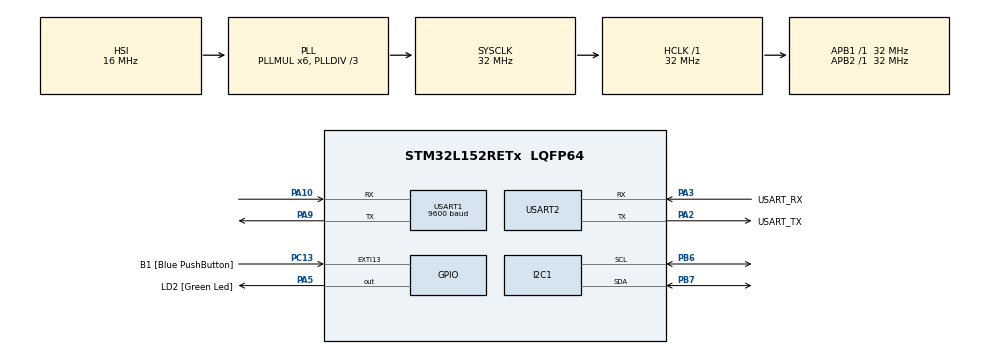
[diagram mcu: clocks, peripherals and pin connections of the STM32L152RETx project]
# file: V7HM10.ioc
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Dma.Request0=USART1_RX
Dma.Request1=USART1_TX
Dma.USART1_RX.0.Direction=DMA_PERIPH_TO_MEMORY
Dma.USART1_RX.0.Instance=DMA1_Channel5
Dma.USART1_RX.0.MemDataAlignment=DMA_MDATAALIGN_BYTE
Dma.USART1_RX.0.MemInc=DMA_MINC_ENABLE
Dma.USART1_RX.0.Mode=DMA_NORMAL
Dma.USART1_RX.0.PeriphDataAlignment=DMA_PDATAALIGN_BYTE
Dma.USART1_RX.0.PeriphInc=DMA_PINC_DISABLE
Dma.USART1_RX.0.Priority=DMA_PRIORITY_LOW
Dma.USART1_TX.1.Direction=DMA_MEMORY_TO_PERIPH
Dma.USART1_TX.1.Instance=DMA1_Channel4
Dma.USART1_TX.1.MemDataAlignment=DMA_MDATAALIGN_BYTE
Dma.USART1_TX.1.MemInc=DMA_MINC_ENABLE
Dma.USART1_TX.1.Mode=DMA_NORMAL
Dma.USART1_TX.1.PeriphDataAlignment=DMA_PDATAALIGN_BYTE
Dma.USART1_TX.1.PeriphInc=DMA_PINC_DISABLE
Dma.USART1_TX.1.Priority=DMA_PRIORITY_LOW
Mcu.Family=STM32L1
Mcu.Name=STM32L152RETx
Mcu.Package=LQFP64
NVIC.DMA1_Channel4_IRQn=true\:0\:0\:false\:false\:true\:false\:true\:true
NVIC.DMA1_Channel5_IRQn=true\:0\:0\:false\:false\:true\:false\:true\:true
NVIC.PriorityGroup=NVIC_PRIORITYGROUP_0
NVIC.USART1_IRQn=true\:0\:0\:false\:false\:true\:true\:true\:true
PA10.Mode=Asynchronous
PA10.Signal=USART1_RX
PA13.GPIO_Label=TMS
PA13.Mode=Serial_Wire
PA13.Signal=SYS_JTMS-SWDIO
PA14.GPIO_Label=TCK
PA14.Mode=Serial_Wire
PA14.Signal=SYS_JTCK-SWCLK
PA2.GPIO_Label=USART_TX
PA2.Mode=Asynchronous
PA2.Signal=USART2_TX
PA3.GPIO_Label=USART_RX
PA3.Mode=Asynchronous
PA3.Signal=USART2_RX
PA5.GPIO_Label=LD2 [Green Led]
PA5.Signal=GPIO_Output
PA9.Mode=Asynchronous
PA9.Signal=USART1_TX
PB3.GPIO_Label=SWO
PB3.Signal=SYS_JTDO-TRACESWO
PB6.Mode=I2C
PB6.Signal=I2C1_SCL
PB7.Mode=I2C
PB7.Signal=I2C1_SDA
PC13-WKUP2.GPIO_Label=B1 [Blue PushButton]
PC13-WKUP2.Signal=GPXTI13
PC14-OSC32_IN.Mode=LSE-External-Oscillator
PC14-OSC32_IN.Signal=RCC_OSC32_IN
PC15-OSC32_OUT.Mode=LSE-External-Oscillator
PC15-OSC32_OUT.Signal=RCC_OSC32_OUT
PH0-OSC_IN.Mode=HSE-External-Oscillator
PH0-OSC_IN.Signal=RCC_OSC_IN
PH1-OSC_OUT.Mode=HSE-External-Oscillator
PH1-OSC_OUT.Signal=RCC_OSC_OUT
ProjectManager.HeapSize=0x200
ProjectManager.StackSize=0x400
ProjectManager.TargetToolchain=STM32CubeIDE
RCC.48MHZClocksFreq_Value=48000000
RCC.AHBFreq_Value=32000000
RCC.APB1Freq_Value=32000000
RCC.APB1TimFreq_Value=32000000
RCC.APB2Freq_Value=32000000
RCC.APB2TimFreq_Value=32000000
RCC.HCLKFreq_Value=32000000
RCC.HSE_VALUE=8000000
RCC.HSI_VALUE=16000000
RCC.MSI_VALUE=2097000
RCC.PLLDIV=RCC_PLL_DIV3
RCC.PLLMUL=RCC_PLL_MUL6
RCC.RTCClockSelectionVirtual=RCC_RTCCLKSOURCE_LSE
RCC.SYSCLKFreq_VALUE=32000000
RCC.SYSCLKSource=RCC_SYSCLKSOURCE_PLLCLK
RCC.USBOutput=48000000
RCC.VCOOutputFreq_Value=96000000
USART1.BaudRate=9600
USART1.VirtualMode=VM_ASYNC
USART2.VirtualMode=VM_ASYNC
board=NUCLEO-L152RE

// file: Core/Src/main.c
/* USER CODE BEGIN Header */
/**
  ******************************************************************************
  * @file           : main.c
  * @brief          : Main program body
  ******************************************************************************
  * @attention
  *
  * Copyright (c) 2025 STMicroelectronics.
  * All rights reserved.
  *
  * This software is licensed under terms that can be found in the LICENSE file
  * in the root directory of this software component.
  * If no LICENSE file comes with this software, it is provided AS-IS.
  *
  ******************************************************************************
  */
/* USER CODE END Header */
#include "main.h"

#include "math.h"
#include "string.h"
#include "stdio.h"

/* USER CODE BEGIN PD */
#define AHT20_ADDRESS 0x38<<1
#define HI2C      hi2c1
/* USER CODE END PD */

I2C_HandleTypeDef hi2c1;

UART_HandleTypeDef huart1;
UART_HandleTypeDef huart2;
DMA_HandleTypeDef hdma_usart1_rx;
DMA_HandleTypeDef hdma_usart1_tx;

/* USER CODE BEGIN PV */
float Temperature, Humidity;
static uint8_t rx_buf[100];
static uint8_t tx_buf[100];
static char* msg1 = "AT";

/* USER CODE END PV */

void SystemClock_Config(void);
static void MX_GPIO_Init(void);
static void MX_DMA_Init(void);
static void MX_USART1_UART_Init(void);
static void MX_USART2_UART_Init(void);
static void MX_I2C1_Init(void);
/* USER CODE BEGIN PFP */
void AHT20_Init (void);
void AHT20_Measure ();
/* USER CODE END PFP */

/* USER CODE BEGIN 0 */
void AHT20_Init (void)
{
	HAL_Delay(40);
	uint8_t status;
	HAL_I2C_Mem_Read(&hi2c1, AHT20_ADDRESS, 0x71, 1, &status, 1, 1000);
	if ((status>>3 & 0x01) == 0)  // if CAL = 0
	{
		uint8_t init_commands[3] = {0xBE, 0x08, 0x00};
		HAL_I2C_Master_Transmit(&hi2c1, AHT20_ADDRESS, init_commands, 3, 1000);
		HAL_Delay (10);
	}
}

void AHT20_Measure (void)
{
	uint8_t measure_command[3] = {0xAC, 0x33, 0x00};
	HAL_I2C_Master_Transmit(&hi2c1, AHT20_ADDRESS, measure_command, 3, 1000);
	HAL_Delay(80);

	uint8_t status;
	do {
		HAL_I2C_Mem_Read(&hi2c1, AHT20_ADDRESS, 0x71, 1, &status, 1, 1000);
		HAL_Delay(100);
	}
	while ((status>>7 & 0x01) == 1);

	uint8_t RxData[7];
	HAL_I2C_Master_Receive(&hi2c1, AHT20_ADDRESS, RxData, 7, 1000);
	uint32_t HUM_DATA = (RxData[1]<<16)|(RxData[2]<<8)|RxData[3];  // accumulated 24bit data
	HUM_DATA = HUM_DATA>>4;  // 20bit data
	Humidity = (float) ((HUM_DATA/pow(2,20)) * 100);
	uint32_t TEMP_DATA = (RxData[3]<<16)|(RxData[4]<<8)|RxData[5];  // accumulated 24bit data
	TEMP_DATA = TEMP_DATA&0xFFFFF;  // first 20bit data
	Temperature = (float) (((TEMP_DATA/pow(2,20)) * 200) - 50);
}

/* USER CODE END 0 */

int main(void)
{

  /* MCU Configuration--------------------------------------------------------*/

  /* Reset of all peripherals, Initializes the Flash interface and the Systick. */
  HAL_Init();

  /* Configure the system clock */
  SystemClock_Config();

  /* Initialize all configured peripherals */
  MX_GPIO_Init();
  MX_DMA_Init();
  MX_USART1_UART_Init();
  MX_USART2_UART_Init();
  MX_I2C1_Init();
  /* USER CODE BEGIN 2 */

  AHT20_Init();
//  HAL_Delay(500);

  HAL_UART_Receive_DMA(&huart1, rx_buf, strlen("OK")); //expecting OK response
  HAL_UART_Transmit_DMA(&huart1, (uint8_t*)msg1, strlen(msg1));//Send AT command

  /* USER CODE END 2 */

  /* Infinite loop */
  /* USER CODE BEGIN WHILE */
  while (1)
  {
	  AHT20_Measure(); //read temp & humidity
	  sprintf(tx_buf,"T: %.2f, H: %.2f",Temperature,Humidity); //send T & H via UART to BT
	  HAL_UART_Transmit_DMA(&huart1, (uint8_t*)tx_buf, strlen(tx_buf));
	  HAL_Delay(5000);
    /* USER CODE END WHILE */

  }
}

void SystemClock_Config(void)
{
  RCC_OscInitTypeDef RCC_OscInitStruct = {0};
  RCC_ClkInitTypeDef RCC_ClkInitStruct = {0};

  /** Configure the main internal regulator output voltage
  */
  __HAL_PWR_VOLTAGESCALING_CONFIG(PWR_REGULATOR_VOLTAGE_SCALE1);

  /** Initializes the RCC Oscillators according to the specified parameters
  * in the RCC_OscInitTypeDef structure.
  */
  RCC_OscInitStruct.OscillatorType = RCC_OSCILLATORTYPE_HSI;
  RCC_OscInitStruct.HSIState = RCC_HSI_ON;
  RCC_OscInitStruct.HSICalibrationValue = RCC_HSICALIBRATION_DEFAULT;
  RCC_OscInitStruct.PLL.PLLState = RCC_PLL_ON;
  RCC_OscInitStruct.PLL.PLLSource = RCC_PLLSOURCE_HSI;
  RCC_OscInitStruct.PLL.PLLMUL = RCC_PLL_MUL6;
  RCC_OscInitStruct.PLL.PLLDIV = RCC_PLL_DIV3;
  if (HAL_RCC_OscConfig(&RCC_OscInitStruct) != HAL_OK)
  {
    Error_Handler();
  }

  /** Initializes the CPU, AHB and APB buses clocks
  */
  RCC_ClkInitStruct.ClockType = RCC_CLOCKTYPE_HCLK|RCC_CLOCKTYPE_SYSCLK
                              |RCC_CLOCKTYPE_PCLK1|RCC_CLOCKTYPE_PCLK2;
  RCC_ClkInitStruct.SYSCLKSource = RCC_SYSCLKSOURCE_PLLCLK;
  RCC_ClkInitStruct.AHBCLKDivider = RCC_SYSCLK_DIV1;
  RCC_ClkInitStruct.APB1CLKDivider = RCC_HCLK_DIV1;
  RCC_ClkInitStruct.APB2CLKDivider = RCC_HCLK_DIV1;

  if (HAL_RCC_ClockConfig(&RCC_ClkInitStruct, FLASH_LATENCY_1) != HAL_OK)
  {
    Error_Handler();
  }
}

static void MX_I2C1_Init(void)
{

  hi2c1.Instance = I2C1;
  hi2c1.Init.ClockSpeed = 100000;
  hi2c1.Init.DutyCycle = I2C_DUTYCYCLE_2;
  hi2c1.Init.OwnAddress1 = 0;
  hi2c1.Init.AddressingMode = I2C_ADDRESSINGMODE_7BIT;
  hi2c1.Init.DualAddressMode = I2C_DUALADDRESS_DISABLE;
  hi2c1.Init.OwnAddress2 = 0;
  hi2c1.Init.GeneralCallMode = I2C_GENERALCALL_DISABLE;
  hi2c1.Init.NoStretchMode = I2C_NOSTRETCH_DISABLE;
  if (HAL_I2C_Init(&hi2c1) != HAL_OK)
  {
    Error_Handler();
  }

}

static void MX_USART1_UART_Init(void)
{

  huart1.Instance = USART1;
  huart1.Init.BaudRate = 9600;
  huart1.Init.WordLength = UART_WORDLENGTH_8B;
  huart1.Init.StopBits = UART_STOPBITS_1;
  huart1.Init.Parity = UART_PARITY_NONE;
  huart1.Init.Mode = UART_MODE_TX_RX;
  huart1.Init.HwFlowCtl = UART_HWCONTROL_NONE;
  huart1.Init.OverSampling = UART_OVERSAMPLING_16;
  if (HAL_UART_Init(&huart1) != HAL_OK)
  {
    Error_Handler();
  }

}

static void MX_USART2_UART_Init(void)
{

  huart2.Instance = USART2;
  huart2.Init.BaudRate = 115200;
  huart2.Init.WordLength = UART_WORDLENGTH_8B;
  huart2.Init.StopBits = UART_STOPBITS_1;
  huart2.Init.Parity = UART_PARITY_NONE;
  huart2.Init.Mode = UART_MODE_TX_RX;
  huart2.Init.HwFlowCtl = UART_HWCONTROL_NONE;
  huart2.Init.OverSampling = UART_OVERSAMPLING_16;
  if (HAL_UART_Init(&huart2) != HAL_OK)
  {
    Error_Handler();
  }

}

static void MX_DMA_Init(void)
{

  /* DMA controller clock enable */
  __HAL_RCC_DMA1_CLK_ENABLE();

  /* DMA interrupt init */
  /* DMA1_Channel4_IRQn interrupt configuration */
  HAL_NVIC_SetPriority(DMA1_Channel4_IRQn, 0, 0);
  HAL_NVIC_EnableIRQ(DMA1_Channel4_IRQn);
  /* DMA1_Channel5_IRQn interrupt configuration */
  HAL_NVIC_SetPriority(DMA1_Channel5_IRQn, 0, 0);
  HAL_NVIC_EnableIRQ(DMA1_Channel5_IRQn);

}

static void MX_GPIO_Init(void)
{
  GPIO_InitTypeDef GPIO_InitStruct = {0};

  /* GPIO Ports Clock Enable */
  __HAL_RCC_GPIOC_CLK_ENABLE();
  __HAL_RCC_GPIOH_CLK_ENABLE();
  __HAL_RCC_GPIOA_CLK_ENABLE();
  __HAL_RCC_GPIOB_CLK_ENABLE();

  /*Configure GPIO pin Output Level */
  HAL_GPIO_WritePin(LD2_GPIO_Port, LD2_Pin, GPIO_PIN_RESET);

  /*Configure GPIO pin : B1_Pin */
  GPIO_InitStruct.Pin = B1_Pin;
  GPIO_InitStruct.Mode = GPIO_MODE_IT_RISING;
  GPIO_InitStruct.Pull = GPIO_NOPULL;
  HAL_GPIO_Init(B1_GPIO_Port, &GPIO_InitStruct);

  /*Configure GPIO pin : LD2_Pin */
  GPIO_InitStruct.Pin = LD2_Pin;
  GPIO_InitStruct.Mode = GPIO_MODE_OUTPUT_PP;
  GPIO_InitStruct.Pull = GPIO_NOPULL;
  GPIO_InitStruct.Speed = GPIO_SPEED_FREQ_LOW;
  HAL_GPIO_Init(LD2_GPIO_Port, &GPIO_InitStruct);

}

void Error_Handler(void)
{
  __disable_irq();
  while (1)
  {
  }
}
